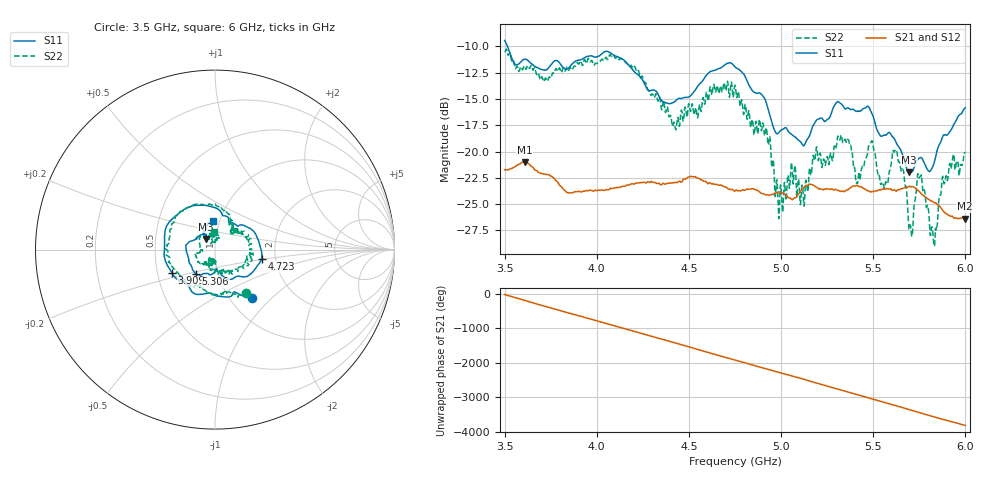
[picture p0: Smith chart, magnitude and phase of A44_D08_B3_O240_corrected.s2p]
! Created with skrf 1.9.0 (http://scikit-rf.org).
# Hz S RI R 50.0
!freq ReS11 ImS11 ReS21 ImS21 ReS12 ImS12 ReS22 ImS22
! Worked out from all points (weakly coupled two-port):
!   1601 points, 3.5 GHz to 6 GHz, reference 50 ohm
!   highest |S21| = -20.99 dB at 3.609 GHz (marker M1); lowest = -26.4 dB at 5.995 GHz (marker M2)
!   lowest |S11| = -22.0 dB at 5.695 GHz (marker M3), VSWR 1.17, Z = 44.7 + j5.4 ohm
!   |S11| at or under -10 dB: 3.516 GHz to end of sweep
!   |S22| runs from -29.0 to -10.3 dB; largest |S21 - S12| = 0.001
!   S11 on the Smith chart (normalised r, x): 3.5 GHz: 1.26, -0.76; 3.909 GHz: 0.60, -0.17; 4.723 GHz: 1.69, -0.18; 5.306 GHz: 0.78, -0.22; 6 GHz: 0.93, +0.31
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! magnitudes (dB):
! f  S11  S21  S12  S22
! 3.5 GHz  -9.4  -21.7  -21.7  -10.5
! 3.609 GHz  -11.2  -21.0  -21.0  -11.9
! 3.909 GHz  -11.3  -23.8  -23.8  -11.4
! 3.917 GHz  -11.2  -23.9  -23.8  -11.6
! 4.334 GHz  -14.6  -23.0  -23.0  -15.2
! 4.42 GHz  -15.3  -23.0  -22.9  -17.2
! 4.723 GHz  -11.6  -23.6  -23.6  -14.4
! 4.75 GHz  -11.9  -23.8  -23.7  -13.7
! 4.93 GHz  -16.0  -24.1  -24.1  -19.4
! 4.997 GHz  -18.0  -23.9  -23.9  -23.2
! 5.167 GHz  -17.8  -23.2  -23.1  -21.7
! 5.306 GHz  -15.3  -23.7  -23.6  -18.7
! 5.416 GHz  -16.2  -23.3  -23.3  -23.0
! 5.486 GHz  -16.1  -23.8  -23.8  -19.2
! 5.584 GHz  -18.2  -23.6  -23.5  -22.2
! 5.628 GHz  -19.3  -23.7  -23.7  -20.0
! 5.695 GHz  -22.0  -23.3  -23.3  -27.4
! 5.752 GHz  -20.6  -23.8  -23.8  -22.5
! 5.834 GHz  -20.8  -24.9  -24.8  -28.5
! 5.883 GHz  -18.4  -25.7  -25.7  -22.9
! 5.995 GHz  -15.9  -26.4  -26.3  -20.1
! 6 GHz  -15.8  -26.4  -26.3  -20.1
